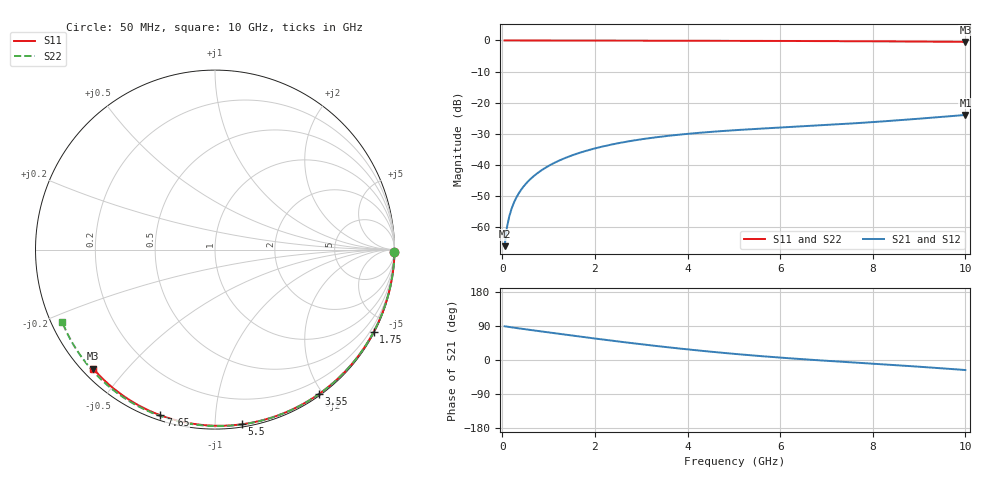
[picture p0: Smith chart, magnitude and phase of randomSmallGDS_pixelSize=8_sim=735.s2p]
! freq	dB(S11)	phase(S11)	dB(S12)	phase(S12)
!  dB(S21)	phase(S21)	dB(S22)	phase(S22)
!S-par simulation data
#  GHz  S  DB  R 50
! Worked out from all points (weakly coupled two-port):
!   200 points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, 50 MHz to 10 GHz, reference 50 ohm
!   highest |S21| = -23.91 dB at 10 GHz (marker M1); lowest = -66.0 dB at 50 MHz (marker M2)
!   lowest |S11| = -0.5 dB at 10 GHz (marker M3), VSWR 37.78, Z = 1.54 - j20.3 ohm
!   |S11| at or under -10 dB: nowhere
!   |S22| runs from -0.5 to 0.0 dB; largest |S21 - S12| = 0
!   S11 on the Smith chart (normalised r, x): 50 MHz: open; 1.75 GHz: 0.04, -4.09; 3.55 GHz: 0.02, -1.95; 5.5 GHz: 0.02, -1.17; 7.65 GHz: 0.02, -0.72; 10 GHz: 0.03, -0.41
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0.05  -0.00 -0.8  -66.01 89.0  -66.01 89.0  -0.00 -0.9
0.1  -0.00 -1.6  -60.00 88.1  -60.00 88.1  -0.00 -1.8
0.15  -0.00 -2.4  -56.49 87.1  -56.49 87.1  -0.00 -2.7
0.2  -0.00 -3.2  -54.00 86.2  -54.00 86.2  -0.00 -3.7
0.25  -0.00 -4.0  -52.08 85.3  -52.08 85.3  -0.00 -4.6
0.35  -0.00 -5.6  -49.19 83.6  -49.19 83.6  -0.00 -6.4
0.5  -0.01 -8.0  -46.14 81.1  -46.14 81.1  -0.01 -9.1
0.7  -0.01 -11.1  -43.27 77.7  -43.27 77.7  -0.01 -12.7
1  -0.02 -15.8  -40.25 72.8  -40.25 72.8  -0.02 -18.1
1.35  -0.03 -21.3  -37.76 67.1  -37.76 67.1  -0.03 -24.3
1.75  -0.04 -27.5  -35.68 60.7  -35.68 60.7  -0.04 -31.4
2.5  -0.05 -38.9  -32.98 49.0  -32.98 49.0  -0.06 -44.3
3.4  -0.07 -52.2  -30.92 36.0  -30.92 36.0  -0.08 -59.3
3.55  -0.08 -54.4  -30.66 33.9  -30.66 33.9  -0.09 -61.8
4.3  -0.10 -65.0  -29.58 24.3  -29.58 24.3  -0.11 -73.7
5.05  -0.12 -75.3  -28.77 15.7  -28.77 15.7  -0.13 -85.3
5.5  -0.14 -81.3  -28.36 11.1  -28.36 11.1  -0.15 -92.0
6.7  -0.19 -96.6  -27.38 0.3  -27.38 0.3  -0.22 -109.3
7.65  -0.25 -108.3  -26.54 -7.1  -26.54 -7.1  -0.28 -122.5
8.35  -0.30 -116.6  -25.83 -12.5  -25.83 -12.5  -0.34 -132.1
9.2  -0.37 -126.5  -24.87 -19.4  -24.87 -19.4  -0.42 -143.6
10  -0.46 -135.7  -23.91 -26.5  -23.91 -26.5  -0.52 -154.6
